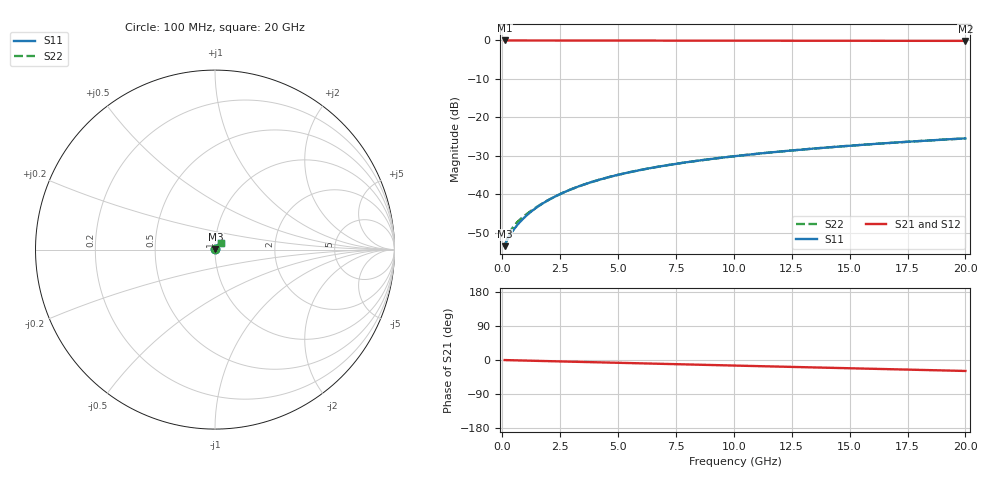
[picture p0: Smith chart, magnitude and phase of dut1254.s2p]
! Touchstone file exported from HFSS 2026.1.0
!  File:  C:/ffzhzh/LocalFiles/Ansys_Project_Files/temp_train_BSMRDL_1254_1783177385_55132.aedt
!  Generated:  11:04:11 PM Jul  4, 2026
!  Design:  BSMRDL
!  Project:  temp_train_BSMRDL_1254_1783177385_55132
! Variables:
!  h_bsmrdl = 4.13um
!  h_ox = 20um
!  h_rdl = 5um
!  h_sub = 80um
!  h_tmrdl = 5um
!  h_tsv = 80um
!  h_via = 3um
!  l_bsmrdl = 505.12um
!  l_sub = 905.12um
!  l_tmrdl = 200um
!  m_sub = 200um
!  pitch = 31.83um
!  r_tsv = 6um
!  s_tmrdl = 10um
!  w_bsmrdl = 25.54um
!  w_sub = 500um
!  w_tmrdl = 12um
!  x_tsv_center1 = 206um
!  x_tsv_center2 = 736.66um
!  x_tsv_center3 = 948.66um
!  x_tsv_center4 = 1479.32um
!  x_tsv_center5 = 1691.32um
!  x_tsv_center6 = 2221.98um
# GHz S MA R 50.000000
! Terminal data exported
! Port[1] = BSM_RDL1_1_T1
! Port[2] = BSM_RDL1_1_T2
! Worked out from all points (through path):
!   200 points, 100 MHz to 20 GHz, reference 50 ohm
!   highest |S21| = -0.02 dB at 100 MHz (marker M1); lowest = -0.1 dB at 20 GHz (marker M2)
!   group delay of S21, straight-line fit = 4 ps
!   lowest |S11| = -53.5 dB at 100 MHz (marker M3), VSWR 1.00, Z = 50.2 + j0.075 ohm
!   |S11| at or under -10 dB: start of sweep to end of sweep
!   |S22| runs from -53.5 to -25.5 dB; largest |S21 - S12| = 3.5e-15
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0.1  0.002114 20.7  0.998 -0.2  0.998 -0.2  0.002114 20.7
! Gamma 0 0 0 0
! Port Impedance 50 0 50 0
0.2  0.002531 28.4  0.9978 -0.3  0.9978 -0.3  0.002581 32.7
0.3  0.002861 33.6  0.9975 -0.5  0.9975 -0.5  0.003069 38.5
0.4  0.003176 38.1  0.9973 -0.6  0.9973 -0.6  0.003498 41.7
0.5  0.003495 41.8  0.9972 -0.8  0.9972 -0.8  0.003868 43.9
0.6  0.00382 45.0  0.9971 -0.9  0.9971 -0.9  0.004197 45.7
0.8  0.00448 49.7  0.9969 -1.2  0.9969 -1.2  0.004796 49.0
1  0.005142 53.1  0.9968 -1.5  0.9968 -1.5  0.005376 51.9
1.2  0.005801 55.6  0.9967 -1.8  0.9967 -1.8  0.005964 54.5
1.5  0.006786 58.4  0.9966 -2.3  0.9966 -2.3  0.006874 57.5
2.1  0.008756 61.8  0.9963 -3.2  0.9963 -3.2  0.008775 61.4
2.8  0.01104 63.7  0.9958 -4.2  0.9958 -4.2  0.01104 63.6
3.5  0.01329 64.4  0.9953 -5.2  0.9953 -5.2  0.01329 64.3
4.2  0.01548 64.4  0.9948 -6.3  0.9948 -6.3  0.01547 64.4
5  0.01789 63.9  0.9941 -7.4  0.9941 -7.4  0.01789 63.9
5.9  0.02049 63.1  0.9934 -8.7  0.9934 -8.7  0.02049 63.2
6.8  0.02298 62.3  0.9927 -10.0  0.9927 -10.0  0.02297 62.3
8.3  0.02693 60.7  0.9917 -12.2  0.9917 -12.2  0.02692 60.7
10.1  0.03142 58.7  0.9906 -14.8  0.9906 -14.8  0.0314 58.8
13.4  0.03916 55.1  0.9888 -19.5  0.9888 -19.5  0.03913 55.2
16.7  0.04642 51.3  0.9872 -24.2  0.9872 -24.2  0.04638 51.5
20  0.05324 47.4  0.9857 -28.9  0.9857 -28.9  0.05318 47.6
